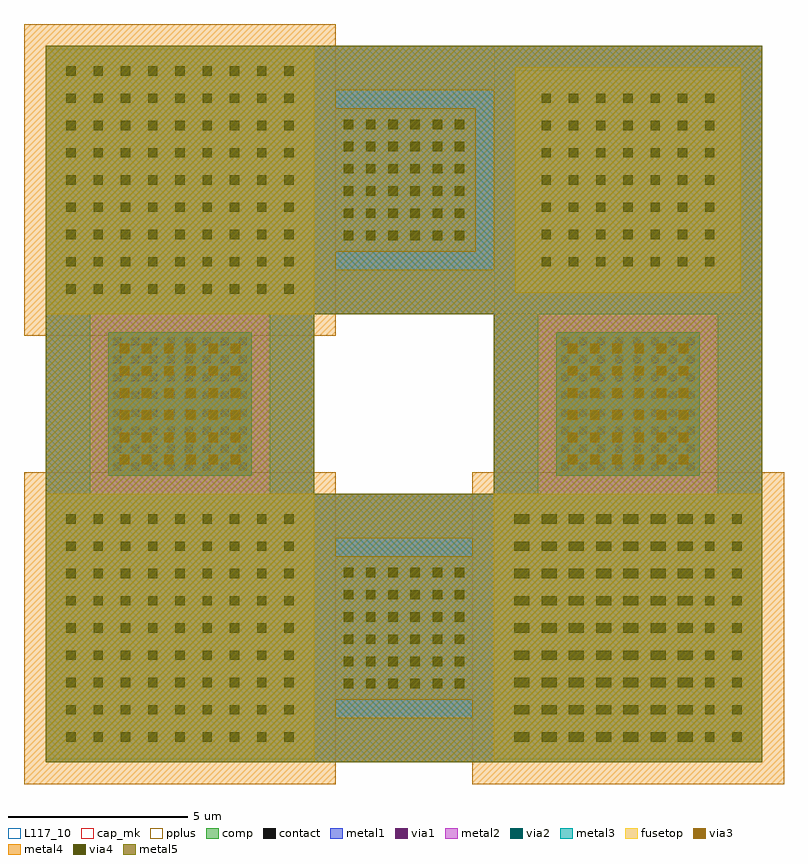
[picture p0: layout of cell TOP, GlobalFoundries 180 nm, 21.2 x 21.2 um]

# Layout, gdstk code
from math import pi, radians
import gdstk
lib = gdstk.Library(unit=1e-6, precision=1e-09)
def R(c, l, rs):  # rectangles x0, y0, x1, y1
    for r in rs: c.add(gdstk.rectangle(r[:2], r[2:], *l))
def A(c, l, x, y, w, h, nx, ny, dx, dy):  # array of equal rectangles
    R(c, l, [(x+i*dx, y+j*dy, x+i*dx+w, y+j*dy+h) for i in range(nx) for j in range(ny)])
def P(c, l, *ps):  # polygons
    for p in ps: c.add(gdstk.Polygon(p, *l))
comp = (22, 0)
pplus = (31, 0)
contact = (33, 0)
metal1 = (34, 0)
via1 = (35, 0)
metal2 = (36, 0)
via2 = (38, 0)
via3 = (40, 0)
via4 = (41, 0)
metal3 = (42, 0)
metal4 = (46, 0)
fusetop = (75, 0)
metal5 = (81, 0)
cap_mk = (117, 5)
L117_10 = (117, 10)

via_dev = lib.new_cell('via_dev')
A(via_dev, via3, 0.32, 0.32, 0.26, 0.26, 6, 6, 0.62, 0.62)
A(via_dev, via4, 0.32, 0.32, 0.26, 0.26, 6, 6, 0.62, 0.62)
R(via_dev, metal3, [(0,0,4,4)])
R(via_dev, metal4, [(0,0,4,4)])
R(via_dev, metal5, [(0,0,4,4)])

via_dev_4 = lib.new_cell('via_dev$4')
R(via_dev_4, metal2, [(0,0,4,4)])
A(via_dev_4, via2, 0.32, 0.32, 0.26, 0.26, 6, 6, 0.62, 0.62)
A(via_dev_4, via3, 0.32, 0.32, 0.26, 0.26, 6, 6, 0.62, 0.62)
R(via_dev_4, metal3, [(0,0,4,4)])
R(via_dev_4, metal4, [(0,0,4,4)])

via_dev_3 = lib.new_cell('via_dev$3')
R(via_dev_3, comp, [(0,0,4,4)])
A(via_dev_3, contact, 0.14, 0.14, 0.22, 0.22, 8, 8, 0.5, 0.5)
R(via_dev_3, metal1, [(0,0,4,4)])
A(via_dev_3, via1, 0.32, 0.32, 0.26, 0.26, 6, 6, 0.62, 0.62)
R(via_dev_3, metal2, [(0,0,4,4)])

cap_mim = lib.new_cell('cap_mim')
A(cap_mim, via4, 0.58, 0.58, 0.26, 0.26, 9, 9, 0.76, 0.76)
R(cap_mim, metal4, [(-0.6,-0.6,8.1,8.1)])
R(cap_mim, fusetop, [(0,0,7.5,7.5)])
R(cap_mim, metal5, [(0,0,7.5,7.5)])
R(cap_mim, cap_mk, [(-0.6,-0.6,8.1,8.1)])
R(cap_mim, L117_10, [(0,0,7.5,0.1)])

cap_mim_3 = lib.new_cell('cap_mim$3')
A(cap_mim_3, via4, 0.74, 0.58, 0.26, 0.26, 7, 9, 0.76, 0.76)
R(cap_mim_3, metal4, [(-0.6,-0.6,6.9,8.1)])
R(cap_mim_3, fusetop, [(0,0,6.3,7.5)])
R(cap_mim_3, metal5, [(0,0,6.3,7.5)])
R(cap_mim_3, cap_mk, [(-0.6,-0.6,6.9,8.1)])
R(cap_mim_3, L117_10, [(0,0,6.3,0.1)])

cap_mim_2 = lib.new_cell('cap_mim$2')
A(cap_mim_2, via4, 0.74, 0.74, 0.26, 0.26, 7, 7, 0.76, 0.76)
R(cap_mim_2, metal4, [(-0.6,-0.6,6.9,6.9)])
R(cap_mim_2, fusetop, [(0,0,6.3,6.3)])
R(cap_mim_2, metal5, [(0,0,6.3,6.3)])
R(cap_mim_2, cap_mk, [(-0.6,-0.6,6.9,6.9)])
R(cap_mim_2, L117_10, [(0,0,6.3,0.1)])

top = lib.new_cell('TOP')
P(top, pplus, [(-10,-10),(-10,2.5),(-2.5,2.5),(-2.5,-2.5),(2.5,-2.5),(2.5,2.5),(-10,2.5),(-10,10),(10,10),(10,-10)])
P(top, metal1, [(-10,-10),(-10,2.5),(-2.5,2.5),(-2.5,-2.5),(2.5,-2.5),(2.5,2.5),(-10,2.5),(-10,10),(10,10),(10,-10)])
P(top, metal2, [(-10,-10),(-10,2.5),(-2.5,2.5),(-2.5,-2.5),(2.5,-2.5),(2.5,2.5),(-10,2.5),(-10,10),(10,10),(10,-10)])
P(top, metal3, [(-10,-10),(-10,2.5),(-8.75,2.5),(-8.75,-2.5),(-3.75,-2.5),(-3.75,2.5),(-2.5,2.5),(-2.5,-2.5),(2.5,-2.5),(2.5,2.5),(3.75,2.5),(3.75,-2.5),(8.75,-2.5),(8.75,2.5),(-10,2.5),(-10,10),(10,10),(10,-10)])
P(top, metal4, [(-10,-10),(-10,-3.75),(-2.5,-3.75),(-2.5,-8.75),(2.5,-8.75),(2.5,-3.75),(-10,-3.75),(-10,2.5),(-2.5,2.5),(-2.5,-2.5),(2.5,-2.5),(2.5,2.5),(-10,2.5),(-10,8.75),(-2.5,8.75),(-2.5,3.75),(2.5,3.75),(2.5,8.75),(-10,8.75),(-10,10),(10,10),(10,-10)])
P(top, metal5, [(-10,-10),(-10,2.5),(-2.5,2.5),(-2.5,-2.5),(2.5,-2.5),(2.5,2.5),(-10,2.5),(-10,10),(10,10),(10,-10)],
  [(-10,-10),(-10,2.5),(-2.5,2.5),(-2.5,-2.5),(2.5,-2.5),(2.5,2.5),(-10,2.5),(-10,10),(10,10),(10,-10)])
top.add(gdstk.Reference(via_dev, (-2,-4.25), rotation=3*pi/2))
top.add(gdstk.Reference(via_dev_4, (-8.25,-2)))
top.add(gdstk.Reference(via_dev, (2,4.25), rotation=pi/2))
top.add(gdstk.Reference(via_dev_3, (-8.25,-2)))
top.add(gdstk.Reference(via_dev_4, (8.25,2), rotation=pi))
top.add(gdstk.Reference(via_dev_3, (8.25,2), rotation=pi))
top.add(gdstk.Reference(cap_mim, (2.5,-10)))
top.add(gdstk.Reference(cap_mim, (-10,-10)))
top.add(gdstk.Reference(cap_mim_3, (2.5,-10)))
top.add(gdstk.Reference(cap_mim, (-10,-10)))
top.add(gdstk.Reference(cap_mim, (-2.5,10), rotation=pi))
top.add(gdstk.Reference(cap_mim_2, (9.4,9.4), rotation=pi))

lib.write_gds('TOP.gds')
